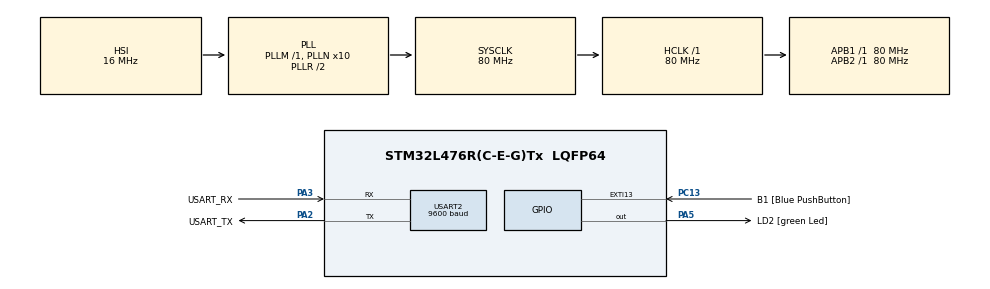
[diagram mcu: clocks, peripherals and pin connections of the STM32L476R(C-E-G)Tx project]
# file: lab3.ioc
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FREERTOS.Mutexes01=myMutex01,Dynamic,NULL
FREERTOS.Tasks01=Task1,0,128,StartTask1,Default,NULL,Dynamic,NULL,NULL;Task2,0,128,StartTask2,Default,NULL,Dynamic,NULL,NULL;Task3,0,128,StartTask3,Default,NULL,Dynamic,NULL,NULL
FREERTOS.configUSE_NEWLIB_REENTRANT=1
Mcu.Family=STM32L4
Mcu.Name=STM32L476R(C-E-G)Tx
Mcu.Package=LQFP64
NVIC.PriorityGroup=NVIC_PRIORITYGROUP_4
NVIC.TIM1_UP_TIM16_IRQn=true\:15\:0\:false\:false\:true\:false\:false\:true\:true
NVIC.TimeBase=TIM1_UP_TIM16_IRQn
NVIC.TimeBaseIP=TIM1
PA13\ (JTMS-SWDIO).GPIO_Label=TMS
PA13\ (JTMS-SWDIO).Mode=Serial_Wire
PA13\ (JTMS-SWDIO).Signal=SYS_JTMS-SWDIO
PA14\ (JTCK-SWCLK).GPIO_Label=TCK
PA14\ (JTCK-SWCLK).Mode=Serial_Wire
PA14\ (JTCK-SWCLK).Signal=SYS_JTCK-SWCLK
PA2.GPIO_Label=USART_TX
PA2.GPIO_Mode=GPIO_MODE_AF_PP
PA2.GPIO_PuPd=GPIO_NOPULL
PA2.GPIO_Speed=GPIO_SPEED_FREQ_VERY_HIGH
PA2.Mode=Asynchronous
PA2.Signal=USART2_TX
PA3.GPIO_Label=USART_RX
PA3.GPIO_Mode=GPIO_MODE_AF_PP
PA3.GPIO_PuPd=GPIO_NOPULL
PA3.GPIO_Speed=GPIO_SPEED_FREQ_VERY_HIGH
PA3.Mode=Asynchronous
PA3.Signal=USART2_RX
PA5.GPIO_Label=LD2 [green Led]
PA5.GPIO_ModeDefaultOutputPP=GPIO_MODE_OUTPUT_PP
PA5.GPIO_PuPd=GPIO_NOPULL
PA5.GPIO_Speed=GPIO_SPEED_FREQ_LOW
PA5.Signal=GPIO_Output
PB3\ (JTDO-TRACESWO).GPIO_Label=SWO
PB3\ (JTDO-TRACESWO).Signal=SYS_JTDO-SWO
PC13.GPIO_Label=B1 [Blue PushButton]
PC13.GPIO_ModeDefaultEXTI=GPIO_MODE_IT_FALLING
PC13.GPIO_PuPd=GPIO_NOPULL
PC13.Signal=GPXTI13
PC14-OSC32_IN\ (PC14).Mode=LSE-External-Oscillator
PC14-OSC32_IN\ (PC14).Signal=RCC_OSC32_IN
PC15-OSC32_OUT\ (PC15).Mode=LSE-External-Oscillator
PC15-OSC32_OUT\ (PC15).Signal=RCC_OSC32_OUT
PH0-OSC_IN\ (PH0).Signal=RCC_OSC_IN
PH1-OSC_OUT\ (PH1).Signal=RCC_OSC_OUT
ProjectManager.HeapSize=0x200
ProjectManager.StackSize=0x400
ProjectManager.TargetToolchain=STM32CubeIDE
RCC.ADCFreq_Value=64000000
RCC.AHBFreq_Value=80000000
RCC.APB1Freq_Value=80000000
RCC.APB1TimFreq_Value=80000000
RCC.APB2Freq_Value=80000000
RCC.APB2TimFreq_Value=80000000
RCC.CortexFreq_Value=80000000
RCC.HCLKFreq_Value=80000000
RCC.HSE_VALUE=8000000
RCC.HSI_VALUE=16000000
RCC.MSI_VALUE=4000000
RCC.PLLN=10
RCC.PLLSourceVirtual=RCC_PLLSOURCE_HSI
RCC.PREFETCH_ENABLE=1
RCC.SYSCLKFreq_VALUE=80000000
RCC.SYSCLKSource=RCC_SYSCLKSOURCE_PLLCLK
RCC.USBFreq_Value=64000000
RCC.VCOOutputFreq_Value=160000000
USART2.BaudRate=9600
USART2.VirtualMode-Asynchronous=VM_ASYNC
USART2.WordLength=WORDLENGTH_9B
VP_FREERTOS_VS_CMSIS_V1.Mode=CMSIS_V1
VP_SYS_VS_tim1.Mode=TIM1
board=NUCLEO-L476RG

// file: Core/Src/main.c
/* USER CODE BEGIN Header */
/**
  ******************************************************************************
  * @file           : main.c
  * @brief          : Main program body
  ******************************************************************************
  * @attention
  *
  * Copyright (c) 2025 STMicroelectronics.
  * All rights reserved.
  *
  * This software is licensed under terms that can be found in the LICENSE file
  * in the root directory of this software component.
  * If no LICENSE file comes with this software, it is provided AS-IS.
  *
  ******************************************************************************
  */
/* USER CODE END Header */
#include "main.h"
#include "cmsis_os.h"

UART_HandleTypeDef huart2;

osThreadId Task1Handle;
osThreadId Task2Handle;
osThreadId Task3Handle;
osMutexId myMutex01Handle;
/* USER CODE BEGIN PV */
uint8_t buffer[100];			//create buffer
const int write_size = 60;		//define write size
UART_HandleTypeDef * uart_ptr;	//create pointer
/* USER CODE END PV */

void SystemClock_Config(void);
static void MX_GPIO_Init(void);
static void MX_USART2_UART_Init(void);
void StartTask1(void const * argument);
void StartTask2(void const * argument);
void StartTask3(void const * argument);

int main(void)
{

  /* MCU Configuration--------------------------------------------------------*/

  /* Reset of all peripherals, Initializes the Flash interface and the Systick. */
  HAL_Init();

  /* Configure the system clock */
  SystemClock_Config();

  /* Initialize all configured peripherals */
  MX_GPIO_Init();
  MX_USART2_UART_Init();
  /* USER CODE BEGIN 2 */
  buffer[write_size - 2] = '\r';	//return character
  buffer[write_size - 1] = '\n';	//newline
  uart_ptr = &huart2;				//uart_ptr references huart2
  /* USER CODE END 2 */

  /* Create the mutex(es) */
  /* definition and creation of myMutex01 */
  osMutexDef(myMutex01);
  myMutex01Handle = osMutexCreate(osMutex(myMutex01));

  /* Create the thread(s) */
  /* definition and creation of Task1 */
  osThreadDef(Task1, StartTask1, osPriorityNormal, 0, 128);
  Task1Handle = osThreadCreate(osThread(Task1), NULL);

  /* definition and creation of Task2 */
  osThreadDef(Task2, StartTask2, osPriorityNormal, 0, 128);
  Task2Handle = osThreadCreate(osThread(Task2), NULL);

  /* definition and creation of Task3 */
  osThreadDef(Task3, StartTask3, osPriorityNormal, 0, 128);
  Task3Handle = osThreadCreate(osThread(Task3), NULL);

  /* Start scheduler */
  osKernelStart();

  /* We should never get here as control is now taken by the scheduler */

  /* Infinite loop */

}

void SystemClock_Config(void)
{
  RCC_OscInitTypeDef RCC_OscInitStruct = {0};
  RCC_ClkInitTypeDef RCC_ClkInitStruct = {0};

  /** Configure the main internal regulator output voltage
  */
  if (HAL_PWREx_ControlVoltageScaling(PWR_REGULATOR_VOLTAGE_SCALE1) != HAL_OK)
  {
    Error_Handler();
  }

  /** Initializes the RCC Oscillators according to the specified parameters
  * in the RCC_OscInitTypeDef structure.
  */
  RCC_OscInitStruct.OscillatorType = RCC_OSCILLATORTYPE_HSI;
  RCC_OscInitStruct.HSIState = RCC_HSI_ON;
  RCC_OscInitStruct.HSICalibrationValue = RCC_HSICALIBRATION_DEFAULT;
  RCC_OscInitStruct.PLL.PLLState = RCC_PLL_ON;
  RCC_OscInitStruct.PLL.PLLSource = RCC_PLLSOURCE_HSI;
  RCC_OscInitStruct.PLL.PLLM = 1;
  RCC_OscInitStruct.PLL.PLLN = 10;
  RCC_OscInitStruct.PLL.PLLP = RCC_PLLP_DIV7;
  RCC_OscInitStruct.PLL.PLLQ = RCC_PLLQ_DIV2;
  RCC_OscInitStruct.PLL.PLLR = RCC_PLLR_DIV2;
  if (HAL_RCC_OscConfig(&RCC_OscInitStruct) != HAL_OK)
  {
    Error_Handler();
  }

  /** Initializes the CPU, AHB and APB buses clocks
  */
  RCC_ClkInitStruct.ClockType = RCC_CLOCKTYPE_HCLK|RCC_CLOCKTYPE_SYSCLK
                              |RCC_CLOCKTYPE_PCLK1|RCC_CLOCKTYPE_PCLK2;
  RCC_ClkInitStruct.SYSCLKSource = RCC_SYSCLKSOURCE_PLLCLK;
  RCC_ClkInitStruct.AHBCLKDivider = RCC_SYSCLK_DIV1;
  RCC_ClkInitStruct.APB1CLKDivider = RCC_HCLK_DIV1;
  RCC_ClkInitStruct.APB2CLKDivider = RCC_HCLK_DIV1;

  if (HAL_RCC_ClockConfig(&RCC_ClkInitStruct, FLASH_LATENCY_4) != HAL_OK)
  {
    Error_Handler();
  }
}

static void MX_USART2_UART_Init(void)
{

  huart2.Instance = USART2;
  huart2.Init.BaudRate = 9600;
  huart2.Init.WordLength = UART_WORDLENGTH_9B;
  huart2.Init.StopBits = UART_STOPBITS_1;
  huart2.Init.Parity = UART_PARITY_NONE;
  huart2.Init.Mode = UART_MODE_TX_RX;
  huart2.Init.HwFlowCtl = UART_HWCONTROL_NONE;
  huart2.Init.OverSampling = UART_OVERSAMPLING_16;
  huart2.Init.OneBitSampling = UART_ONE_BIT_SAMPLE_DISABLE;
  huart2.AdvancedInit.AdvFeatureInit = UART_ADVFEATURE_NO_INIT;
  if (HAL_UART_Init(&huart2) != HAL_OK)
  {
    Error_Handler();
  }

}

static void MX_GPIO_Init(void)
{
  GPIO_InitTypeDef GPIO_InitStruct = {0};

  /* GPIO Ports Clock Enable */
  __HAL_RCC_GPIOC_CLK_ENABLE();
  __HAL_RCC_GPIOH_CLK_ENABLE();
  __HAL_RCC_GPIOA_CLK_ENABLE();
  __HAL_RCC_GPIOB_CLK_ENABLE();

  /*Configure GPIO pin Output Level */
  HAL_GPIO_WritePin(LD2_GPIO_Port, LD2_Pin, GPIO_PIN_RESET);

  /*Configure GPIO pin : B1_Pin */
  GPIO_InitStruct.Pin = B1_Pin;
  GPIO_InitStruct.Mode = GPIO_MODE_IT_FALLING;
  GPIO_InitStruct.Pull = GPIO_NOPULL;
  HAL_GPIO_Init(B1_GPIO_Port, &GPIO_InitStruct);

  /*Configure GPIO pin : LD2_Pin */
  GPIO_InitStruct.Pin = LD2_Pin;
  GPIO_InitStruct.Mode = GPIO_MODE_OUTPUT_PP;
  GPIO_InitStruct.Pull = GPIO_NOPULL;
  GPIO_InitStruct.Speed = GPIO_SPEED_FREQ_LOW;
  HAL_GPIO_Init(LD2_GPIO_Port, &GPIO_InitStruct);

}

void StartTask1(void const * argument)
{
  /* USER CODE BEGIN 5 */
  /* Infinite loop */
	  for(;;) {
		  osMutexWait(myMutex01Handle, osWaitForever);
		  for (int i=0; i<write_size-2; i++){
			  buffer[i] = '1';
		  }
		  /* register version of HAL_UART_Transmit(&huart2, buffer, write_size, 1000); */
		  int j = 0;
		  while (j<write_size) {
			  //check that a Tx process is not already ongoing
			  if (uart_ptr -> gState == HAL_UART_STATE_READY) {
				  uart_ptr -> ErrorCode = HAL_UART_ERROR_NONE;	//set no error
				  uart_ptr -> gState = HAL_UART_STATE_BUSY_TX;	//set Tx to busy
				  //send one byte
				  uart_ptr -> TxXferSize = 1;
				  uart_ptr -> TxXferCount = 1;
				  //transmit is 9 bits (data + stop bit), put in 16 bit and send
				  uart_ptr -> Instance -> TDR = (uint16_t)(buffer[j]);

				  osDelay(2);
				  uart_ptr -> gState = HAL_UART_STATE_READY;	//return to ready
				  j++;
			  }
		  }
		  osMutexRelease(myMutex01Handle);
		  osDelay(1000);
	  }
  /* USER CODE END 5 */
}

void StartTask2(void const * argument)
{
  /* USER CODE BEGIN StartTask2 */
  /* Infinite loop */
	  for(;;) {
		  osMutexWait(myMutex01Handle, osWaitForever);
		  for (int i=0; i<write_size-2; i++){
			  buffer[i] = '2';
		  }
		  /* register version of HAL_UART_Transmit(&huart2, buffer, write_size, 1000); */
		  int j = 0;
		  while (j<write_size) {
			  //check that a Tx process is not already ongoing
			  if (uart_ptr -> gState == HAL_UART_STATE_READY) {
				  uart_ptr -> ErrorCode = HAL_UART_ERROR_NONE;	//set no error
				  uart_ptr -> gState = HAL_UART_STATE_BUSY_TX;	//set Tx to busy
				  //send one byte
				  uart_ptr -> TxXferSize = 1;
				  uart_ptr -> TxXferCount = 1;
				  //transmit is 9 bits (data + stop bit), put in 16 bit and send
				  uart_ptr -> Instance -> TDR = (uint16_t)(buffer[j]);

				  osDelay(2);
				  uart_ptr -> gState = HAL_UART_STATE_READY;	//return to ready
				  j++;
			  }
		  }
		  osMutexRelease(myMutex01Handle);
		  osDelay(100);
	  }
  /* USER CODE END StartTask2 */
}

void StartTask3(void const * argument)
{
  /* USER CODE BEGIN StartTask3 */
  /* Infinite loop */
	  for(;;) {
		  osMutexWait(myMutex01Handle, osWaitForever);
		  for (int i=0; i<write_size-2; i++){
			  buffer[i] = '3';
		  }
		  /* register version of HAL_UART_Transmit(&huart2, buffer, write_size, 1000); */
		  int j = 0;
		  while (j<write_size) {
			  //check that a Tx process is not already ongoing
			  if (uart_ptr -> gState == HAL_UART_STATE_READY) {
				  uart_ptr -> ErrorCode = HAL_UART_ERROR_NONE;	//set no error
				  uart_ptr -> gState = HAL_UART_STATE_BUSY_TX;	//set Tx to busy
				  //send one byte
				  uart_ptr -> TxXferSize = 1;
				  uart_ptr -> TxXferCount = 1;
				  //transmit is 9 bits (data + stop bit), put in 16 bit and send
				  uart_ptr -> Instance -> TDR = (uint16_t)(buffer[j]);

				  osDelay(2);
				  uart_ptr -> gState = HAL_UART_STATE_READY;	//return to ready
				  j++;
			  }
		  }
		  osMutexRelease(myMutex01Handle);
		  osDelay(200);
	  }
  /* USER CODE END StartTask3 */
}

void HAL_TIM_PeriodElapsedCallback(TIM_HandleTypeDef *htim)
{
  if (htim->Instance == TIM1) {
    HAL_IncTick();
  }
}

void Error_Handler(void)
{
  __disable_irq();
  while (1)
  {
  }
}
